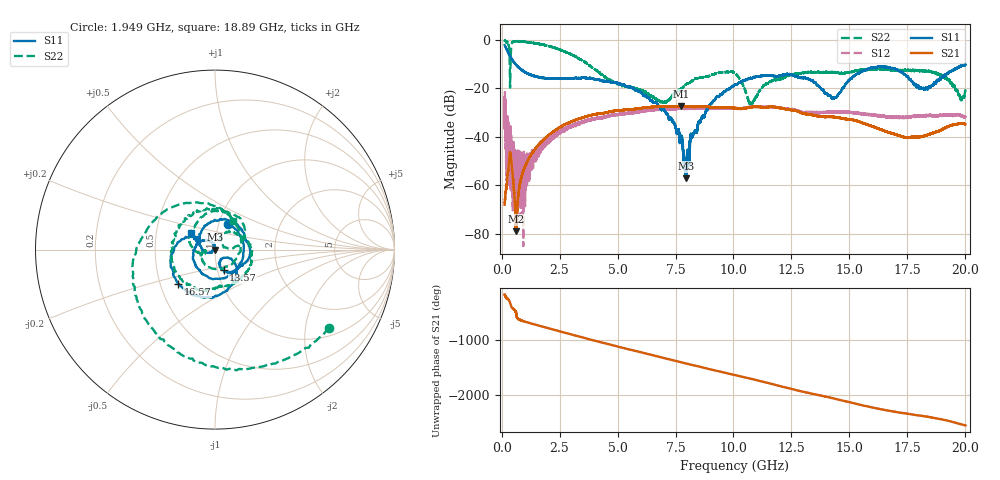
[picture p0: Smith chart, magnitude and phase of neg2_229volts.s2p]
!Created with skrf (http://scikit-rf.org).
# GHz S RI R 50.0
!freq ReS11 ImS11 ReS21 ImS21 ReS12 ImS12 ReS22 ImS22
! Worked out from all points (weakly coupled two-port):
!   20013 points, 130 MHz to 20 GHz, reference 50 ohm
!   highest |S21| = -27.27 dB at 7.749 GHz (marker M1); lowest = -79.0 dB at 617 MHz (marker M2)
!   lowest |S11| = -57.2 dB at 7.96 GHz (marker M3), VSWR 1.00, Z = 49.9 + j0.00745 ohm
!   |S11| at or under -10 dB: 604.4 MHz to end of sweep
!   |S22| runs from -26.8 to -0.1 dB; largest |S21 - S12| = 0.084
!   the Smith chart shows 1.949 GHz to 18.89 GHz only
!   S11 on the Smith chart (normalised r, x): 1.949 GHz: 1.11, +0.33; 13.57 GHz: 1.07, -0.25; 16.57 GHz: 0.62, -0.26; 18.89 GHz: 0.76, +0.14
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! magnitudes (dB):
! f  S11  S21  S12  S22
! 130 MHz  -2.1  -68.0  -23.1  -0.2
! 371 MHz  -6.8  -46.5  -44.0  -16.5
! 617 MHz  -10.1  -79.0  -58.6  -0.6
! 1.041 GHz  -13.4  -51.6  -49.8  -0.8
! 1.949 GHz  -15.9  -39.9  -42.3  -2.3
! 3.442 GHz  -15.7  -32.2  -34.0  -8.3
! 6.754 GHz  -27.0  -27.5  -28.8  -25.0
! 7.749 GHz  -39.8  -27.3  -28.1  -20.1
! 7.96 GHz  -57.2  -27.5  -28.2  -18.3
! 8.215 GHz  -40.0  -27.6  -28.3  -16.9
! 8.901 GHz  -28.1  -27.6  -28.1  -14.9
! 10.06 GHz  -18.3  -28.1  -28.3  -13.8
! 10.75 GHz  -15.6  -27.7  -27.4  -26.2
! 11.58 GHz  -14.7  -27.6  -27.7  -17.2
! 13.38 GHz  -16.6  -31.0  -29.9  -13.3
! 13.57 GHz  -18.1  -31.3  -29.8  -13.3
! 14.35 GHz  -23.9  -31.8  -29.5  -13.3
! 16.57 GHz  -11.1  -37.7  -31.9  -12.2
! 16.69 GHz  -11.3  -38.1  -31.8  -12.2
! 18.18 GHz  -19.9  -39.8  -31.4  -12.6
! 18.89 GHz  -16.0  -37.5  -31.3  -14.4
! 20 GHz  -10.1  -34.9  -31.6  -20.8
